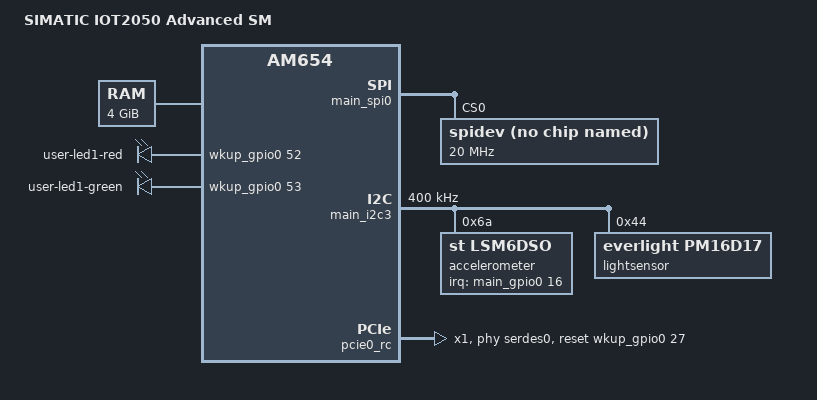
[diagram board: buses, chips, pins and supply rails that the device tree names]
// SPDX-License-Identifier: GPL-2.0
/*
 * Copyright (c) Siemens AG, 2023
 *
 * Authors:
 *   Baocheng Su <baocheng.su@siemens.com>
 *   Chao Zeng <chao.zeng@siemens.com>
 *   Huaqian Li <huaqian.li@siemens.com>
 *
 * AM6548-based (quad-core) IOT2050 SM variant, Product Generation 2
 * 4 GB RAM, 16 GB eMMC, USB-serial converter on connector X30
 *
 * Product homepage:
 * https://new.siemens.com/global/en/products/automation/pc-based/iot-gateways/simatic-iot2050.html
 */

/dts-v1/;

#include "k3-am6548-iot2050-advanced-common.dtsi"
#include "k3-am65-iot2050-common-pg2.dtsi"

/ {
	compatible = "siemens,iot2050-advanced-sm", "ti,am654";
	model = "SIMATIC IOT2050 Advanced SM";

	memory@80000000 {
		device_type = "memory";
		/* 4G RAM */
		reg = <0x00000000 0x80000000 0x00000000 0x80000000>,
		      <0x00000008 0x80000000 0x00000000 0x80000000>;
	};

	aliases {
		spi1 = &main_spi0;
	};

	leds {
		compatible = "gpio-leds";
		pinctrl-names = "default";
		pinctrl-0 = <&leds_pins_default &user1_leds_pins>;

		user-led1-red {
			gpios = <&wkup_gpio0 52 GPIO_ACTIVE_HIGH>;
		};

		user-led1-green {
			gpios = <&wkup_gpio0 53 GPIO_ACTIVE_HIGH>;
		};
	};
};

&mcu_r5fss0 {
	/* lock-step mode not supported on this board */
	ti,cluster-mode = <0>;
};

&main_pmx0 {
	/delete-property/ pinctrl-names;
	/delete-property/ pinctrl-0;
	/delete-property/ pinctrl-1;
	/delete-property/ pinctrl-2;
	/delete-property/ pinctrl-3;
	/delete-property/ pinctrl-4;
	/delete-property/ pinctrl-5;
	/delete-property/ pinctrl-6;
	/delete-property/ pinctrl-7;
	/delete-property/ pinctrl-8;
	/delete-property/ pinctrl-9;
	/delete-property/ pinctrl-10;
	/delete-property/ pinctrl-11;
	/delete-property/ pinctrl-12;
	/delete-property/ pinctrl-13;
	/delete-property/ pinctrl-14;
	/delete-property/ pinctrl-15;
	/delete-property/ pinctrl-16;
	/delete-property/ pinctrl-17;
	/delete-property/ pinctrl-18;
	/delete-property/ pinctrl-19;
	/delete-property/ pinctrl-20;
	/delete-property/ pinctrl-21;
	/delete-property/ pinctrl-22;
	/delete-property/ pinctrl-23;
	/delete-property/ pinctrl-24;

	main_pcie_enable_pins_default: main-pcie-enable-pins-default {
		pinctrl-single,pins = <
			AM65X_IOPAD(0x01d8, PIN_OUTPUT, 7)  /* (AH12) GPIO1_22 */
		>;
	};

	main_spi0_pins_default: main-spi0-pins-default {
		pinctrl-single,pins = <
			AM65X_IOPAD(0x01c4, PIN_INPUT, 0) /* (AH13) SPI0_CLK */
			AM65X_IOPAD(0x01c8, PIN_INPUT, 0) /* (AE13) SPI0_D0 */
			AM65X_IOPAD(0x01cc, PIN_INPUT, 0) /* (AD13) SPI0_D1 */
			AM65X_IOPAD(0x01bc, PIN_OUTPUT, 0) /* (AG13) SPI0_CS0 */
		>;
	};
};

&main_pmx1 {
	asic_spi_mux_ctrl_pins_default: asic-spi-mux-ctrl-pins-default {
		pinctrl-single,pins = <
			AM65X_IOPAD(0x0010, PIN_OUTPUT, 7)  /* (D21) GPIO1_86 */
		>;
	};
};

&wkup_pmx0 {
	/delete-property/ pinctrl-names;
	/delete-property/ pinctrl-0;
	/delete-property/ pinctrl-1;
	/delete-property/ pinctrl-2;
	/delete-property/ pinctrl-3;
	/delete-property/ pinctrl-4;
	/delete-property/ pinctrl-5;
	/delete-property/ pinctrl-6;
	/delete-property/ pinctrl-7;
	/delete-property/ pinctrl-8;
	/delete-property/ pinctrl-9;
	/delete-property/ pinctrl-10;
	/delete-property/ pinctrl-11;
	/delete-property/ pinctrl-12;
	/delete-property/ pinctrl-13;
	/delete-property/ pinctrl-14;
	/delete-property/ pinctrl-15;
	/delete-property/ pinctrl-16;
	/delete-property/ pinctrl-17;
	/delete-property/ pinctrl-18;
	/delete-property/ pinctrl-19;
	/delete-property/ pinctrl-20;
	/delete-property/ pinctrl-21;
	/delete-property/ pinctrl-22;
	/delete-property/ pinctrl-23;
	/delete-property/ pinctrl-24;
	/delete-property/ pinctrl-25;
	/delete-property/ pinctrl-26;
	/delete-property/ pinctrl-27;
	/delete-property/ pinctrl-28;
	/delete-property/ pinctrl-29;
	/delete-property/ pinctrl-30;
	/delete-property/ pinctrl-31;
	/delete-property/ pinctrl-32;
	/delete-property/ pinctrl-33;
	/delete-property/ pinctrl-34;
	/delete-property/ pinctrl-35;
	/delete-property/ pinctrl-36;
	/delete-property/ pinctrl-37;
	/delete-property/ pinctrl-38;
	/delete-property/ pinctrl-39;
	/delete-property/ pinctrl-40;
	/delete-property/ pinctrl-41;
	/delete-property/ pinctrl-42;
	/delete-property/ pinctrl-43;
	/delete-property/ pinctrl-44;
	/delete-property/ pinctrl-45;
	/delete-property/ pinctrl-46;
	/delete-property/ pinctrl-47;
	/delete-property/ pinctrl-48;
	/delete-property/ pinctrl-49;
	/delete-property/ pinctrl-50;

	user1_leds_pins: leds-pins-default-main {
		pinctrl-single,pins = <
			/* (AB1) WKUP_UART0_RXD:WKUP_GPIO0_52, as USER 1 led red */
			AM65X_WKUP_IOPAD(0x00a0, PIN_OUTPUT, 7)
			/* (AB5) WKUP_UART0_TXD:WKUP_GPIO0_53, as USER 1 led green */
			AM65X_WKUP_IOPAD(0x00a4, PIN_OUTPUT, 7)
		>;
	};

	soc_asic_gpios: soc-asic-gpios {
		pinctrl-single,pins = <
			AM65X_WKUP_IOPAD(0x0044, PIN_INPUT, 7)  /* (P4) WKUP_GPIO0_29 */
			AM65X_WKUP_IOPAD(0x0048, PIN_INPUT, 7)  /* (P5) WKUP_GPIO0_30 */
			AM65X_WKUP_IOPAD(0x004c, PIN_INPUT, 7)  /* (P1) WKUP_GPIO0_31 */
		>;
	};

	usb0_oc_pins_default: usb0-oc-pins-default {
		pinctrl-single,pins = <
			/* (W1) MCU_MCAN0_TX:WKUP_GPIO0_54, as USB0_OC detection */
			AM65X_WKUP_IOPAD(0x00a8, PIN_INPUT, 7)
		>;
	};
};

&main_gpio0 {
	gpio-line-names = "main_gpio0-base";
};

&main_gpio1 {
	pinctrl-names = "default";
	pinctrl-0 = <
		&cp2102n_reset_pin_default
		&main_pcie_enable_pins_default
		&asic_spi_mux_ctrl_pins_default
	>;
	gpio-line-names =
		/* 0..9 */
		"", "", "", "", "", "", "", "", "", "",
		/* 10..19 */
		"", "", "", "", "", "", "", "", "", "",
		/* 20..29 */
		"ASIC-soc-int", "", "", "", "CP2102N-RESET", "", "", "", "", "",
		/* 30..39 */
		"", "", "", "", "", "", "", "", "", "",
		/* 40..49 */
		"", "", "", "", "", "", "", "", "", "",
		/* 50..59 */
		"", "", "", "", "", "", "", "", "", "",
		/* 60..69 */
		"", "", "", "", "", "", "", "", "", "",
		/* 70..79 */
		"", "", "", "", "", "", "", "", "", "",
		/* 80..89 */
		"", "", "", "", "", "", "ASIC-spi-mux-ctrl", "ASIC-rst";
};

&wkup_gpio0 {
	pinctrl-names = "default";
	pinctrl-0 = <
		&push_button_pins_default
		&db9_com_mode_pins_default
		&soc_asic_gpios
	>;
	gpio-line-names =
		/* 0..9 */
		"wkup_gpio0-base", "", "", "", "UART0-mode1", "UART0-mode0",
		"UART0-enable", "UART0-terminate", "", "WIFI-disable",
		/* 10..19 */
		"", "", "", "", "", "", "", "", "", "",
		/* 20..29 */
		"", "", "", "", "", "USER-button", "", "", "","ASIC-gpio-0",
		/* 30..39 */
		"ASIC-gpio-1", "ASIC-gpio-2", "", "", "", "", "", "", "", "",
		/* 40..49 */
		"", "", "", "", "", "", "", "", "", "",
		/* 50..54 */
		"", "", "", "", "USB-OC";
};

&main_spi0 {
	pinctrl-names = "default";
	pinctrl-0 = <&main_spi0_pins_default>;

	#address-cells = <1>;
	#size-cells= <0>;

	spidev@0 {
		compatible = "rohm,dh2228fv";
		spi-max-frequency = <20000000>;
		reg = <0>;
	};
};

&mcu_spi0 {
	pinctrl-names = "default";
	pinctrl-0 = <&mcu_spi0_pins_default>;
};

&main_i2c3 {
	pinctrl-names = "default";
	pinctrl-0 = <&main_i2c3_pins_default>;
	clock-frequency = <400000>;

	accelerometer: lsm6dso@6a {
		compatible = "st,lsm6dso";
		reg = <0x6a>;
		interrupt-parent = <&main_gpio0>;
		interrupts = <16 IRQ_TYPE_EDGE_RISING>,
			<20 IRQ_TYPE_EDGE_RISING>;
	};

	lightsensor: pm16d17@44 {
		compatible = "everlight,pm16d17";
		reg = <0x44>;

		ps-gain = <1>;
		ps-itime = "0.4";
		ps-wtime = "25";
		ps-pulse-count = <1>;
	};

	/delete-node/ edp-bridge@f;
};

/delete-node/ &pcal9535_1;
/delete-node/ &pcal9535_2;
/delete-node/ &pcal9535_3;

&dss {
	status = "disabled";
};

&dss_ports {
	/delete-node/ port@1;
};

&ecap0 {
	status = "disabled";
};

&mcu_uart0 {
	status = "disabled";
};

&tscadc1 {
	status = "disabled";
};

&serdes0 {
	assigned-clocks = <&k3_clks 153 4>, <&serdes0 AM654_SERDES_CMU_REFCLK>;
	assigned-clock-parents = <&k3_clks 153 8>, <&k3_clks 153 4>;
};

&serdes1 {
	status = "disabled";
};

&pcie0_rc {
	pinctrl-names = "default";
	pinctrl-0 = <&minipcie_pins_default>;

	num-lanes = <1>;
	phys = <&serdes0 PHY_TYPE_PCIE 1>;
	phy-names = "pcie-phy0";
	reset-gpios = <&wkup_gpio0 27 GPIO_ACTIVE_HIGH>;
	status = "okay";
};

&pcie0_ep {
	status = "disabled";
};

&pcie1_rc {
	status = "disabled";
};

&pcie1_ep {
	status = "disabled";
};

&dwc3_0 {
	assigned-clock-parents = <&k3_clks 151 4>,  /* set REF_CLK to 20MHz i.e. PER0_PLL/48 */
				 <&k3_clks 151 9>;  /* set PIPE3_TXB_CLK to CLK_12M_RC/256 (for HS only) */
	/delete-property/ phys;
	/delete-property/ phy-names;
};

&usb0 {
	pinctrl-names = "default";
	pinctrl-0 = <
		&usb0_pins_default
		&usb0_oc_pins_default
	>;

	maximum-speed = "high-speed";
	/delete-property/ snps,dis-u1-entry-quirk;
	/delete-property/ snps,dis-u2-entry-quirk;
};
